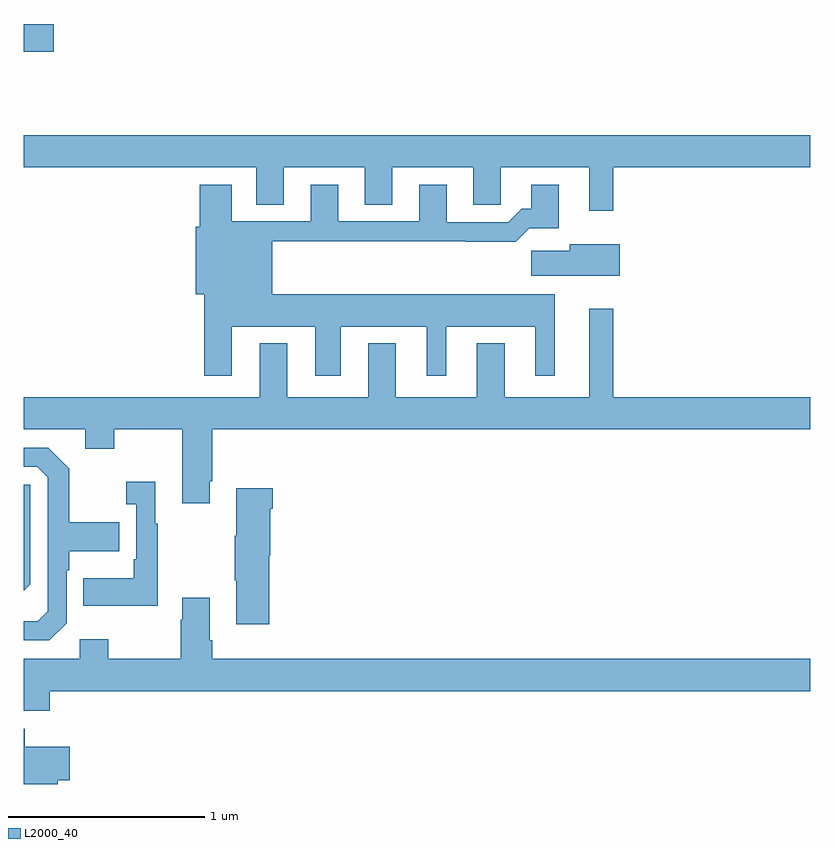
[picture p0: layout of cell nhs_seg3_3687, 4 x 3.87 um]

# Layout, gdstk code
import gdstk
lib = gdstk.Library(unit=1e-6, precision=1e-09)
def R(c, l, rs):  # rectangles x0, y0, x1, y1
    for r in rs: c.add(gdstk.rectangle(r[:2], r[2:], *l))
def P(c, l, *ps):  # polygons
    for p in ps: c.add(gdstk.Polygon(p, *l))
L2000_40 = (2000, 40)

nhs_seg3_3687 = lib.new_cell('nhs_seg3_3687')
R(nhs_seg3_3687, L2000_40, [(301,748.123,301.153,748.265)])
P(nhs_seg3_3687, L2000_40, [(303.997,747.536),(305,747.536),(305,747.7),(301,747.7),(301,747.536),(302.183,747.536),(302.183,747.346),(302.323,747.346),(302.323,747.536),(302.735,747.536),(302.735,747.346),(302.875,747.346),(302.875,747.536),(303.287,747.536),(303.287,747.346),(303.426,747.346),(303.426,747.536),(303.875,747.536),(303.875,747.315),(303.997,747.315)],
  [(302.059,746.726),(302.483,746.726),(302.483,746.475),(302.611,746.475),(302.611,746.726),(303.05,746.726),(303.05,746.475),(303.148,746.475),(303.148,746.726),(303.602,746.726),(303.602,746.475),(303.7,746.475),(303.7,746.89),(302.263,746.89),(302.263,747.16),(303.247,747.16),(303.247,747.158),(303.503,747.158),(303.572,747.227),(303.721,747.227),(303.721,747.448),(303.581,747.448),(303.581,747.325),(303.532,747.325),(303.465,747.258),(303.151,747.258),(303.151,747.448),(303.011,747.448),(303.011,747.261),(302.599,747.261),(302.599,747.448),(302.459,747.448),(302.459,747.261),(302.059,747.261),(302.059,747.448),(301.895,747.448),(301.895,747.235),(301.874,747.235),(301.874,746.891),(301.919,746.891),(301.919,746.475),(302.059,746.475)],
  [(304.03,747.145),(303.776,747.145),(303.776,747.113),(303.582,747.113),(303.582,746.984),(304.03,746.984)],
  [(301.945,745.939),(301.958,745.939),(301.958,746.204),(305,746.204),(305,746.368),(303.997,746.368),(303.997,746.818),(303.875,746.818),(303.875,746.368),(303.445,746.368),(303.445,746.641),(303.305,746.641),(303.305,746.368),(302.893,746.368),(302.893,746.641),(302.753,746.641),(302.753,746.368),(302.341,746.368),(302.341,746.641),(302.201,746.641),(302.201,746.368),(301,746.368),(301,746.204),(301.313,746.204),(301.313,746.105),(301.461,746.105),(301.461,746.204),(301.805,746.204),(301.805,745.827),(301.945,745.827)],
  [(301.218,745.218),(301.218,745.487),(301.231,745.487),(301.231,745.583),(301.487,745.583),(301.487,745.731),(301.231,745.731),(301.231,746.003),(301.125,746.109),(301,746.109),(301,746.013),(301.068,746.013),(301.122,745.959),(301.122,745.278),(301.071,745.227),(301,745.227),(301,745.131),(301.131,745.131)],
  [(301.681,745.723),(301.669,745.723),(301.669,745.936),(301.521,745.936),(301.521,745.823),(301.572,745.823),(301.572,745.543),(301.56,745.543),(301.56,745.447),(301.303,745.447),(301.303,745.307),(301.681,745.307)],
  [(301.032,745.416),(301.032,745.923),(301,745.923),(301,745.384)],
  [(302.249,745.563),(302.254,745.563),(302.254,745.799),(302.267,745.799),(302.267,745.903),(302.081,745.903),(302.081,745.663),(302.074,745.663),(302.074,745.435),(302.081,745.435),(302.081,745.212),(302.249,745.212)],
  [(301.133,744.872),(305,744.872),(305,745.036),(301.958,745.036),(301.958,745.132),(301.945,745.132),(301.945,745.348),(301.805,745.348),(301.805,745.235),(301.798,745.235),(301.798,745.036),(301.431,745.036),(301.431,745.135),(301.284,745.135),(301.284,745.036),(301,745.036),(301,744.773),(301.133,744.773)],
  [(301.174,744.419),(301.234,744.419),(301.234,744.589),(301.006,744.589),(301.006,744.682),(301,744.682),(301,744.4),(301.174,744.4)])

lib.write_gds('nhs_seg3_3687.gds')
